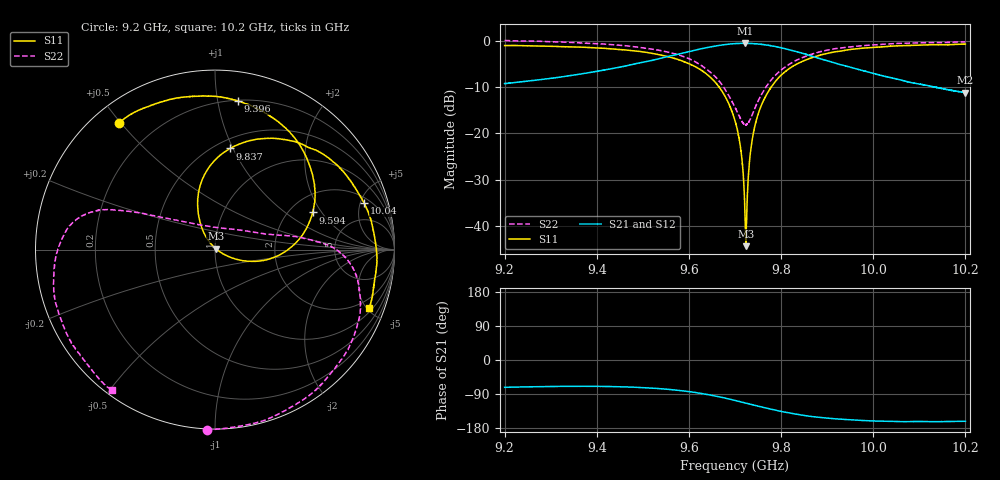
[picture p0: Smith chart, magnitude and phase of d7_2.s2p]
!Agilent Technologies,N5242A,MY51221714,A.09.90.19
!Agilent N5242A: A.09.90.19
!Date: Friday, February 02, 2024 13:25:02
!Correction: S11(Full 2 Port(1,2))
!S21(Full 2 Port(1,2))
!S12(Full 2 Port(1,2))
!S22(Full 2 Port(1,2))
!S2P File: Measurements: S11, S21, S12, S22:
# Hz S  dB  R 50
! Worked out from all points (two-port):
!   16001 points, 9.2 GHz to 10.2 GHz, reference 50 ohm
!   highest |S21| = -0.56 dB at 9.722 GHz (marker M1); lowest = -11.2 dB at 10.2 GHz (marker M2)
!   |S21| within 3 dB of the highest: 9.548 GHz to 9.874 GHz (325.7 MHz wide, 3.35 % of centre); 9.873881 GHz to 9.873983 GHz (102 kHz wide, 0.00103 % of centre)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
!   lowest |S11| = -44.4 dB at 9.724 GHz (marker M3), VSWR 1.01, Z = 50.4 + j0.479 ohm
!   |S11| at or under -10 dB: 9.665 GHz to 9.779 GHz (113.2 MHz wide, 1.16 % of centre)
!   |S22| runs from -18.2 to 0.1 dB; largest |S21 - S12| = 0.027
!   S11 on the Smith chart (normalised r, x): 9.2 GHz: 0.07, +0.49; 9.396 GHz: 0.21, +1.14; 9.594 GHz: 2.64, +1.65; 9.837 GHz: 0.58, +0.97; 10.04 GHz: 2.55, +5.43; 10.2 GHz: 1.23, -5.18
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9.2e9  -1.04 127.2  -9.26 -72.1  -9.23 -73.5  0.05 -92.7
9.366688e9  -1.39 88.8  -7.15 -69.4  -7.14 -70.8  -0.49 -47.4
9.3965e9  -1.54 81.3  -6.67 -69.5  -6.64 -71.0  -0.62 -39.8
9.533375e9  -3.00 42.5  -3.94 -75.2  -3.90 -76.5  -2.04 -9.4
9.593688e9  -4.71 20.8  -2.51 -82.4  -2.48 -83.8  -3.63 1.0
9.65925e9  -9.21 -6.1  -1.12 -95.5  -1.10 -96.9  -7.96 11.3
9.7e9  -17.27 -23.7  -0.63 -106.7  -0.60 -108.2  -14.38 33.5
9.712875e9  -23.76 -27.9  -0.58 -110.5  -0.54 -112.0  -17.04 54.9
9.722375e9  -39.55 1.6  -0.56 -113.4  -0.53 -114.9  -18.15 81.0
9.723625e9  -44.40 52.2  -0.57 -113.8  -0.53 -115.3  -18.17 84.5
9.726625e9  -33.95 118.1  -0.58 -114.6  -0.54 -116.3  -18.08 93.5
9.731375e9  -26.30 125.8  -0.57 -116.2  -0.55 -117.6  -17.29 107.0
9.736188e9  -22.11 126.0  -0.59 -117.6  -0.57 -119.2  -16.27 117.8
9.753188e9  -14.96 118.2  -0.74 -122.6  -0.71 -124.2  -12.42 139.0
9.788188e9  -8.74 103.2  -1.27 -132.5  -1.26 -134.0  -7.40 152.5
9.837062e9  -4.89 81.6  -2.44 -143.7  -2.44 -145.2  -4.03 159.2
9.866688e9  -3.67 69.6  -3.33 -149.1  -3.30 -150.6  -2.92 162.8
9.943625e9  -1.99 43.2  -5.54 -157.3  -5.53 -158.8  -1.39 175.4
1.003338e10  -1.21 17.7  -7.86 -161.7  -7.85 -163.2  -0.67 -166.3
1.0035e10  -1.21 17.2  -7.91 -161.7  -7.90 -163.3  -0.67 -166.0
1.019994e10  -0.74 -20.7  -11.23 -161.6  -11.20 -163.2  -0.24 -126.3
1.02e10  -0.73 -20.7  -11.23 -161.6  -11.21 -163.2  -0.24 -126.3
